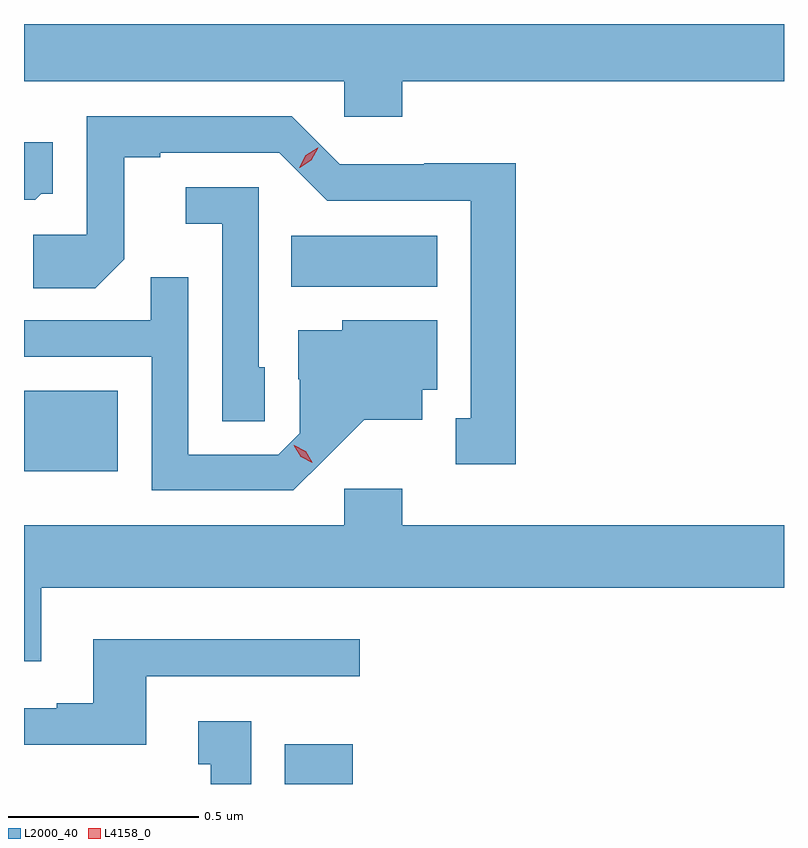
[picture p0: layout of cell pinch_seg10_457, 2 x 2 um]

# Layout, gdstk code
import gdstk
lib = gdstk.Library(unit=1e-6, precision=1e-09)
def R(c, l, rs):  # rectangles x0, y0, x1, y1
    for r in rs: c.add(gdstk.rectangle(r[:2], r[2:], *l))
def P(c, l, *ps):  # polygons
    for p in ps: c.add(gdstk.Polygon(p, *l))
L2000_40 = (2000, 40)
L4158_0 = (4158, 0)

pinch_seg10_457 = lib.new_cell('pinch_seg10_457')
R(pinch_seg10_457, L2000_40, [(363.347,1310.455,363.526,1310.56), (362.661,1311.278,362.908,1311.49), (363.364,1311.764,363.748,1311.898)])
P(pinch_seg10_457, L2000_40, [(363.656,1312.304),(364.661,1312.304),(364.661,1312.455),(362.661,1312.455),(362.661,1312.304),(363.504,1312.304),(363.504,1312.211),(363.656,1312.211)],
  [(363.955,1312.088),(363.714,1312.088),(363.714,1312.086),(363.492,1312.086),(363.366,1312.212),(362.826,1312.212),(362.826,1311.9),(362.685,1311.9),(362.685,1311.76),(362.849,1311.76),(362.925,1311.836),(362.925,1312.104),(363.019,1312.104),(363.019,1312.116),(363.333,1312.116),(363.459,1311.99),(363.836,1311.99),(363.836,1311.417),(363.797,1311.417),(363.797,1311.297),(363.955,1311.297)],
  [(362.706,1312.008),(362.737,1312.008),(362.737,1312.144),(362.661,1312.144),(362.661,1311.992),(362.69,1311.992)],
  [(363.294,1311.552),(363.279,1311.552),(363.279,1312.026),(363.087,1312.026),(363.087,1311.929),(363.183,1311.929),(363.183,1311.409),(363.294,1311.409)],
  [(363.454,1311.311),(363.557,1311.413),(363.709,1311.413),(363.709,1311.492),(363.748,1311.492),(363.748,1311.676),(363.498,1311.676),(363.498,1311.649),(363.383,1311.649),(363.383,1311.52),(363.387,1311.52),(363.387,1311.378),(363.33,1311.321),(363.093,1311.321),(363.093,1311.788),(362.995,1311.788),(362.995,1311.675),(362.661,1311.675),(362.661,1311.579),(362.997,1311.579),(362.997,1311.228),(363.37,1311.228)],
  [(362.707,1310.972),(364.661,1310.972),(364.661,1311.136),(363.656,1311.136),(363.656,1311.232),(363.504,1311.232),(363.504,1311.136),(362.661,1311.136),(362.661,1310.778),(362.707,1310.778)],
  [(362.983,1310.739),(363.544,1310.739),(363.544,1310.836),(362.843,1310.836),(362.843,1310.668),(362.747,1310.668),(362.747,1310.655),(362.661,1310.655),(362.661,1310.558),(362.983,1310.558)],
  [(363.259,1310.62),(363.119,1310.62),(363.119,1310.507),(363.152,1310.507),(363.152,1310.455),(363.259,1310.455)])
P(pinch_seg10_457, L4158_0, [(363.385,1312.077),(363.385,1312.077),(363.403,1312.11),(363.434,1312.129),(363.435,1312.129),(363.435,1312.129),(363.417,1312.096),(363.386,1312.077)],
  [(363.42,1311.301),(363.389,1311.316),(363.371,1311.346),(363.371,1311.346),(363.372,1311.346),(363.402,1311.331),(363.42,1311.302),(363.42,1311.301)])

lib.write_gds('pinch_seg10_457.gds')
